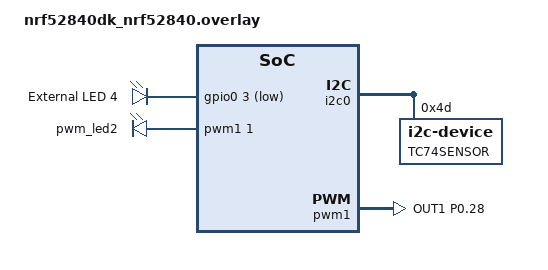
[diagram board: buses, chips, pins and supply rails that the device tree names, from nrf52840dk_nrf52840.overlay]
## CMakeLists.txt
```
cmake_minimum_required(VERSION 3.10)

find_package(Zephyr REQUIRED HINTS $ENV{ZEPHYR_BASE})
project(mini_projeto)

target_sources(app PRIVATE  src/main.c  src/lib/cmd_proc.c  src/lib/cmd_proc.h src/lib/task_control.c src/lib/task_control.h src/lib/sensor_temp.c src/lib/sensor_temp.h src/lib/RTDB.h src/lib/RTDB.c) 

target_include_directories(app PRIVATE src)
```

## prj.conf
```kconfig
CONFIG_GPIO=y

CONFIG_SERIAL=y
CONFIG_UART_ASYNC_API=y
CONFIG_CONSOLE=y
CONFIG_UART_CONSOLE=y

CONFIG_PRINTK=y
CONFIG_TIMESLICING=y
CONFIG_TIMESLICE_SIZE=10
CONFIG_TIMESLICE_PRIORITY=0

CONFIG_I2C=y

CONFIG_PWM=y
CONFIG_PWM_NRFX=y 

CONFIG_LOG_MODE_DEFERRED=y

CONFIG_STDOUT_CONSOLE=y

CONFIG_LOG=y
```

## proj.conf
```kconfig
CONFIG_GPIO=y

CONFIG_SERIAL=y
CONFIG_UART_ASYNC_API=y

CONFIG_PRINTK=y
CONFIG_TIMESLICING=y
CONFIG_TIMESLICE_SIZE=10
CONFIG_TIMESLICE_PRIORITY=0

CONFIG_ENTROPY_GENERATOR=y
CONFIG_TEST_RANDOM_GENERATOR=y

CONFIG_LOG=y
CONFIG_ADC=y
```

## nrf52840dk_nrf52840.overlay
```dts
// The provided address in the datasheet is an 8-bit address 1001 101b.
// Therefore, it must be logically shifted to the right by 1 bit to get the 7-bit address.
// 1001 101b -> 100 1101 = 4d
&i2c0 {
    tc74sensor: tc74sensor@4d {
        compatible = "i2c-device";
        reg = <0x4d>;
        label = "TC74SENSOR";
    };
};

/ {
	
	extleds {
		compatible = "gpio-leds";
		extled4: extled_4 {
			gpios = <&gpio0 3 GPIO_ACTIVE_LOW>;
			label = "External LED 4";
		};
	};	
	
	pwmleds {
		compatible = "pwm-leds";
		pwm_led2: pwm_led_2 {
			// Note that the "1" refers to the PWM channel (0...3)
			pwms = <&pwm1 1 PWM_MSEC(20) PWM_POLARITY_INVERTED>;
		};
	};


};

&pwm1 {
	status = "okay";
	pinctrl-0 = <&pwm1_default>;
	pinctrl-1 = <&pwm1_sleep>;
	pinctrl-names = "default", "sleep";	
};

&pinctrl {
	
	pwm1_default: pwm1_default {
		group1 {
			// Note that here PWM channels are labeled PWM_OUTx
			psels = <NRF_PSEL(PWM_OUT1, 0, 28)>;
			nordic,invert;
		};
	};

	pwm1_sleep: pwm1_sleep {
		group1 {
			// Note that here PWM channels are labeled PWM_OUTx
			psels = <NRF_PSEL(PWM_OUT1, 0, 28)>;			
		};
	};
};
```

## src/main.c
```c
/** \file main.c
 *  \brief Ficheiro principal do sistema de controlo de temperatura.
 * 
 *  Este módulo é responsável por inicializar o sistema, configurar os periféricos necessários, e criar as threads para leitura de temperatura e controlo de LEDs.
 *  Lida também com a recepção de comandos via UART e a atualização do estado dos LEDs com base na temperatura lida e no setpoint definido.
 * 
 *  \author Guilherme Santos, 103143
 * 	\author Francisco Bastos, 103359
 *  \date 22/05/20025 
 */

/* Includes. */
#include <zephyr/kernel.h>          /* for k_msleep() */
#include <zephyr/device.h>          /* for device_is_ready() and device structure */
#include <zephyr/devicetree.h>		/* for DT_NODELABEL() */
#include <zephyr/drivers/gpio.h>    /* for GPIO api*/
#include <zephyr/drivers/uart.h>
#include <zephyr/sys/printk.h>
#include <zephyr/logging/log.h>
#include "lib/cmd_proc.h"
#include "lib/sensor_temp.h" 
#include "lib/task_control.h"
#include "lib/RTDB.h"


LOG_MODULE_REGISTER(main, LOG_LEVEL_DBG);

#define RECEIVE_BUFF_SIZE 128
#define RECEIVE_TIMEOUT_MS 100
#define UPDATE_PERIOD_MS 500 		/* Time between temperature readings */

const struct device *uart = DEVICE_DT_GET(DT_NODELABEL(uart0));  // Ajuste conforme necessário
static uint8_t rx_buf[RECEIVE_BUFF_SIZE];

/* Get led0 and button0 node IDs. Refer to the DTS file */
#define LED0_NODE DT_ALIAS(led0)
#define LED1_NODE DT_ALIAS(led1)
#define LED2_NODE DT_ALIAS(led2)
#define LED3_NODE DT_ALIAS(led3)
#define BUT0_NODE DT_ALIAS(sw0)
#define BUT1_NODE DT_ALIAS(sw1)
#define BUT3_NODE DT_ALIAS(sw3)

/* Get the device pointer, pin number, and configuration flags for led0 and button 0. A build error on this line means your board is unsupported. */
static const struct gpio_dt_spec led1 = GPIO_DT_SPEC_GET(LED0_NODE, gpios);
static const struct gpio_dt_spec led2 = GPIO_DT_SPEC_GET(LED1_NODE, gpios);
static const struct gpio_dt_spec led3 = GPIO_DT_SPEC_GET(LED2_NODE, gpios);
static const struct gpio_dt_spec led4 = GPIO_DT_SPEC_GET(LED3_NODE, gpios);
static const struct gpio_dt_spec but1 = GPIO_DT_SPEC_GET(BUT0_NODE, gpios);
static const struct gpio_dt_spec but2 = GPIO_DT_SPEC_GET(BUT1_NODE, gpios);
static const struct gpio_dt_spec but4 = GPIO_DT_SPEC_GET(BUT3_NODE, gpios);

// Thread Priorities
#define TEMP_THREAD_PRIORITY 4
#define LED_THREAD_PRIORITY  6

// Thread stack areas and data
K_THREAD_STACK_DEFINE(temp_stack, 1024);
K_THREAD_STACK_DEFINE(led_stack, 1024);
static struct k_thread temp_thread_data;
static struct k_thread led_thread_data;

// semaphore
K_SEM_DEFINE(led_sem, 0, 1); // Binary semaphore

// Function to update LEDs based on temperature deviation
void update_leds() {
    static int state = -1; // -1: undefined, 0: normal, 1: low, 2: high

    int current_temp = rtdb_get_temperature();
    int desired_temp = rtdb_get_setpoint();

    int deviation = current_temp - desired_temp;

    // LED2 (Normal): ON if within ±2°C of temp
    if (deviation >= -2 && deviation <= 2 && state != 0) {
        gpio_pin_set_dt(&led2, 1); // LED2 ON (Normal)
        gpio_pin_set_dt(&led3, 0); // LED3 OFF
        gpio_pin_set_dt(&led4, 0); // LED4 OFF
        state = 0; // Normal state
        printk("Normal State.\n");
    }
    // LED3 (Warning Low): ON if >2°C below temp
    else if (deviation < -2 && state != 1) {
        gpio_pin_set_dt(&led2, 0); // LED2 OFF
        gpio_pin_set_dt(&led3, 1); // LED3 ON (Warning Low)
        gpio_pin_set_dt(&led4, 0); // LED4 OFF
        state = 1; // High state
        printk("Warning! temperature Low!\n");
    }
    // LED4 (Warning High): ON if >2°C above temp
    else if (deviation > 2 && state != 2) {
        gpio_pin_set_dt(&led2, 0); // LED2 OFF
        gpio_pin_set_dt(&led3, 0); // LED3 OFF
        gpio_pin_set_dt(&led4, 1); // LED4 ON (Warning High)
        state = 2; // Low state
        printk("Warning! temperature High!\n");
    } else {
        return;     // No change needed
    }
}

/* Temperature Thread */
void temp_thread(void *a, void *b, void *c) {
    while (1) {
        if (rtdb_get_system_on()) {
            int temp = get_temp();
            
            rtdb_set_temperature(temp);     // Store safely in RTDB

            k_sem_give(&led_sem);           // Signal LED thread
        }

        k_msleep(UPDATE_PERIOD_MS);         // Sleep for configured update period
    }
 }

/* LED Thread */
void led_thread(void *a, void *b, void *c) {
    while (1) {
        k_sem_take(&led_sem, K_FOREVER);    // Wait for signal from temp thread
        if (rtdb_get_system_on()) {
            update_leds();                  // Update LEDs when system is ON
        }
    }
}

/* Define the callback function */
void button1Pressed(const struct device *dev, struct gpio_callback *cb, uint32_t pins)
{
    k_msleep(100); // Debounce delay 

    bool system_on = rtdb_get_system_on();      // Get current system state
    rtdb_set_system_on(!system_on);             // Toggle system state

    if (!system_on) {
        printk("Power On. ");		
        gpio_pin_set_dt(&led1, 1);  // LED1 ON
        k_sem_give(&led_sem);       // Signal LED thread to update LEDs
    } else {
        printk("Power Off\n");		
        gpio_pin_set_dt(&led1, 0);  // LED1 OFF
        gpio_pin_set_dt(&led2, 0);  // LED2 OFF
        gpio_pin_set_dt(&led3, 0);  // LED3 OFF
        gpio_pin_set_dt(&led4, 0);  // LED4 OFF
    }
    return;
}

void button2Pressed(const struct device *dev, struct gpio_callback *cb, uint32_t pins)
{
    k_msleep(100); // Debounce

    int temp = rtdb_get_setpoint();
    int max = rtdb_get_max_temp();

    temp++;
    if (temp <= max)
    {
        printk("Setpoint temperature: %d C\n", temp);
    } else {
        temp = max;         // Limit to maximum temperature
        printk("\r\nMaximum opereating temperature!\r\n");
    }
    rtdb_set_setpoint(temp);

    k_sem_give(&led_sem);   // Signal LED thread to update LEDs
    return;
}

void button4Pressed(const struct device *dev, struct gpio_callback *cb, uint32_t pins)
{
    k_msleep(100); // Debounce

    int temp = rtdb_get_setpoint();
    temp--;
    rtdb_set_setpoint(temp);                // Update setpoint in RTDB
    printk("New setpoint: %d C\n", temp);

    k_sem_give(&led_sem);                   // Signal LED thread to update LEDs
    return;
}


int main(void)
{
    int ret = 0;
        
    static struct gpio_callback button1CbData; // Define variable for holding callback data
    static struct gpio_callback button2CbData; // Define variable for holding callback data
    static struct gpio_callback button4CbData; // Define variable for holding callback data 

    /* Check if devices are ready */
    if (!device_is_ready(led1.port) || !device_is_ready(led2.port) || !device_is_ready(led3.port) || !device_is_ready(led4.port) || !device_is_ready(but1.port) || !device_is_ready(but2.port) || !device_is_ready(but4.port)) {
        return 0;
    }	

    /* Configure the GPIO pins for input/output and set active logic */
    /* Note that the devicetree activates the internal pullup and sets the active low flag */
    /*   so an external resistor is not needed and pressing the button causes a logic level of 1*/
    ret = gpio_pin_configure_dt(&led1, GPIO_OUTPUT_INACTIVE);
    if (ret < 0) {
        return 0;
    }
    ret = gpio_pin_configure_dt(&led2, GPIO_OUTPUT_INACTIVE);
    if (ret < 0) {
        return 0;
    }
    ret = gpio_pin_configure_dt(&led3, GPIO_OUTPUT_INACTIVE);
    if (ret < 0) {        
        return 0;
    }
    ret = gpio_pin_configure_dt(&led4, GPIO_OUTPUT_INACTIVE);
    if (ret < 0) {
        return 0;
    }

    ret = gpio_pin_configure_dt(&but1, GPIO_INPUT);
    if (ret < 0) {
        return 0;
    }
    ret = gpio_pin_configure_dt(&but2, GPIO_INPUT);
    if (ret < 0) {
        return 0;
    }
    ret = gpio_pin_configure_dt(&but4, GPIO_INPUT);
    if (ret < 0) {
        return 0;
    }

    /* Set interrupt */
    ret = gpio_pin_interrupt_configure_dt(&but1, GPIO_INT_EDGE_TO_ACTIVE);
    gpio_init_callback(&button1CbData, button1Pressed, BIT(but1.pin));

    ret = gpio_pin_interrupt_configure_dt(&but2, GPIO_INT_EDGE_TO_ACTIVE);
    gpio_init_callback(&button2CbData, button2Pressed, BIT(but2.pin));

    ret = gpio_pin_interrupt_configure_dt(&but4, GPIO_INT_EDGE_TO_ACTIVE);
    gpio_init_callback(&button4CbData, button4Pressed, BIT(but4.pin));
        
    /* Add the callback function by calling gpio_add_callback()   */
    gpio_add_callback(but1.port, &button1CbData);
    gpio_add_callback(but2.port, &button2CbData);
    gpio_add_callback(but4.port, &button4CbData);

    printk("System ready. Press buttons to toggle LEDs.\n");
        
    int ret1;
    if (!device_is_ready(uart)) {
        printk("UART device not ready\n");
        return 1;
    }

    // Define o callback de recepção UART
    ret1 = uart_callback_set(uart, cmd_proc_uart_handler, NULL);
    if (ret1 < 0) {
        printk("Failed to set UART callback: %d\n", ret1);
        return 1;
    }

    // Inicia a recepção UART
    ret1 = uart_rx_enable(uart, rx_buf, sizeof(rx_buf), RECEIVE_TIMEOUT_MS);
    if (ret1 < 0) {
        printk("Failed to enable UART RX: %d\n", ret1);
        return 1;
    }
    printk("UART frame parser ready\r\n");

    rtdb_init();            // Initializing RTDB, default values
    task_control_init();    // Initialize task control thread

    
    // Start threads
    k_thread_create(&temp_thread_data, temp_stack,
                    K_THREAD_STACK_SIZEOF(temp_stack),
                    temp_thread, NULL, NULL, NULL,
                    TEMP_THREAD_PRIORITY, 0, K_NO_WAIT);

    k_thread_create(&led_thread_data, led_stack,
                    K_THREAD_STACK_SIZEOF(led_stack),
                    led_thread, NULL, NULL, NULL,
                    LED_THREAD_PRIORITY, 0, K_NO_WAIT);
            
    return 0;
    }
```

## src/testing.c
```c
#include "unity.h"
#include "cmd_proc.h"
#include "sensor_temp.h"
#include "task_control.h"
#include "RTDB.h"
#include <string.h>


extern void process_frame(const char *frame);
extern char uart_last_sent[128]; // Exposed or mocked buffer from uart_send

void setUp(void) {
    // Reset RTDB values
    rtdb_set_temperature(25);
    rtdb_set_max_temperature(30);
    rtdb_set_hysteresis(1);
    memset(uart_last_sent, 0, sizeof(uart_last_sent));
}

void test_command_C_valid_checksum(void) {
    const char *frame = "#C067!\r"; // checksum("C") = 67
    process_frame(frame);
    TEST_ASSERT_TRUE(strstr(uart_last_sent, "#c025067!"));
}

void test_command_C_invalid_checksum(void) {
    const char *frame = "#C025!\r"; // invalid checksum
    process_frame(frame);
    TEST_ASSERT_TRUE(strstr(uart_last_sent, "#Es"));
}

void test_command_M_valid(void) {
    const char *frame = "#M030113!\r"; // 30 = temp, 113 = checksum("M030")
    process_frame(frame);
    TEST_ASSERT_EQUAL_INT(30, rtdb_get_max_temperature());
    TEST_ASSERT_TRUE(strstr(uart_last_sent, "#m030113!"));
}

void test_command_M_invalid_checksum(void) {
    const char *frame = "#M030000!\r"; // incorrect checksum
    process_frame(frame);
    TEST_ASSERT_TRUE(strstr(uart_last_sent, "#Es"));
}

void test_command_S_valid(void) {
    const char *frame = "#S005088!\r"; // 5 = hyst, 088 = checksum("S005")
    process_frame(frame);
    TEST_ASSERT_EQUAL_INT(5, rtdb_get_hysteresis());
    TEST_ASSERT_TRUE(strstr(uart_last_sent, "#m005088!"));
}

void test_command_S_invalid_checksum(void) {
    const char *frame = "#S005000!\r"; // incorrect checksum
    process_frame(frame);
    TEST_ASSERT_TRUE(strstr(uart_last_sent, "#Es"));
}

int main(void) {
    UNITY_BEGIN();
    RUN_TEST(test_command_C_valid_checksum);
    RUN_TEST(test_command_C_invalid_checksum);
    RUN_TEST(test_command_M_valid);
    RUN_TEST(test_command_M_invalid_checksum);
    RUN_TEST(test_command_S_valid);
    RUN_TEST(test_command_S_invalid_checksum);
    return UNITY_END();
}
```
